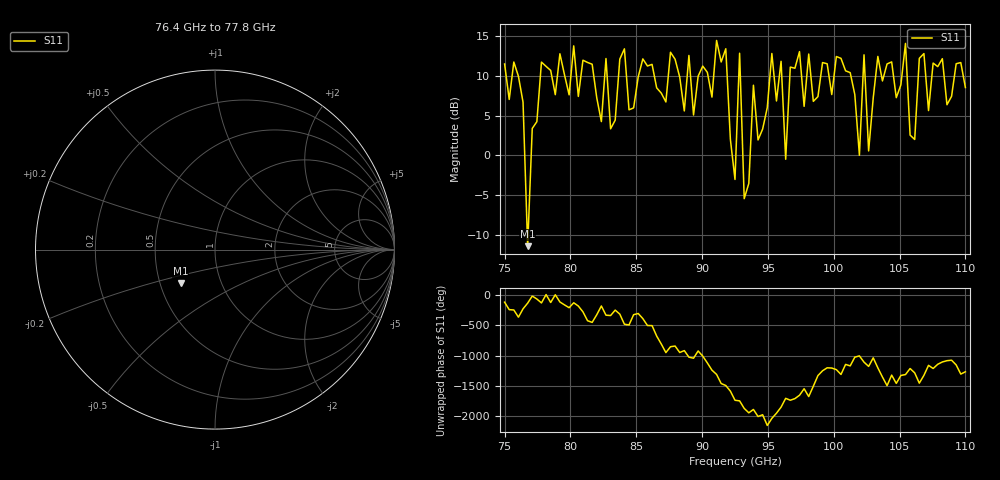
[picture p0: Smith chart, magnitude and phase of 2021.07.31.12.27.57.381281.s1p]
!Created with skrf (http://scikit-rf.org).
# GHz S RI R 50.0
!freq ReS11 ImS11
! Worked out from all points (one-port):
!   101 points, 75 GHz to 110 GHz, reference 50 ohm
!   lowest |S11| = -11.5 dB at 76.75 GHz (marker M1), VSWR 1.73, Z = 32 - j12.9 ohm
!   |S11| at or under -10 dB: 76.72182 GHz to 76.78448 GHz (62.66 MHz wide, 0.0816 % of centre)
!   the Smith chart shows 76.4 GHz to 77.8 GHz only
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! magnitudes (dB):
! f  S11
! 75 GHz  11.5
! 76.4 GHz  6.7
! 76.75 GHz  -11.5
! 77.8 GHz  11.7
! 79.55 GHz  10.1
! 82.35 GHz  4.2
! 82.7 GHz  12.2
! 83.05 GHz  3.3
! 83.75 GHz  12.1
! 88.3 GHz  9.9
! 91.8 GHz  13.4
! 92.5 GHz  -3.0
! 92.85 GHz  12.9
! 93.2 GHz  -5.5
! 93.9 GHz  8.8
! 94.25 GHz  1.9
! 96 GHz  11.8
! 96.35 GHz  -0.5
! 97.05 GHz  11.0
! 101.2 GHz  10.4
! 102 GHz  0.0
! 102.3 GHz  12.7
! 102.7 GHz  0.5
! 103.3 GHz  12.5
! 105.5 GHz  14.1
! 105.8 GHz  2.5
! 106.8 GHz  12.8
! 110 GHz  8.5
